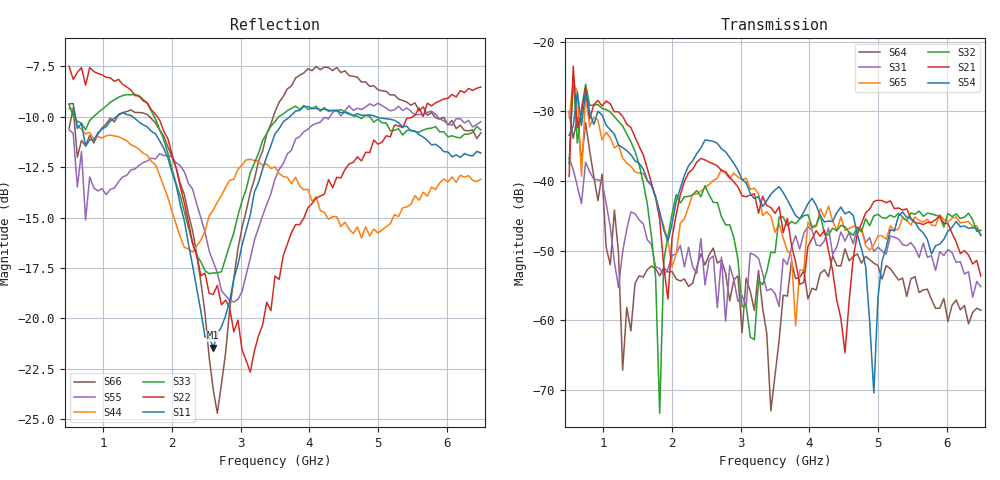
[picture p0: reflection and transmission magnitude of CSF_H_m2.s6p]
!Keysight Technologies,M9804A,MY58100912,A.14.10.03
!Date: Thursday, April 27, 2023 10:28:33
!Correction: S11(C  6-Port  )
!S12(C  6-Port  )
!S13(C  6-Port  )
!S14(C  6-Port  )
!S15(C  6-Port  )
!S16(C  6-Port  )
!S21(C  6-Port  )
!S22(C  6-Port  )
!S23(C  6-Port  )
!S24(C  6-Port  )
!S25(C  6-Port  )
!S26(C  6-Port  )
!S31(C  6-Port  )
!S32(C  6-Port  )
!S33(C  6-Port  )
!S34(C  6-Port  )
!S35(C  6-Port  )
!S36(C  6-Port  )
!S41(C  6-Port  )
!S42(C  6-Port  )
!S43(C  6-Port  )
!S44(C  6-Port  )
!S45(C  6-Port  )
!S46(C  6-Port  )
!S51(C  6-Port  )
!S52(C  6-Port  )
!S53(C  6-Port  )
!S54(C  6-Port  )
!S55(C  6-Port  )
!S56(C  6-Port  )
!S61(C  6-Port  )
!S62(C  6-Port  )
!S63(C  6-Port  )
!S64(C  6-Port  )
!S65(C  6-Port  )
!S66(C  6-Port  )
!S6P File: Measurement: :
# Hz S  RI  R 50
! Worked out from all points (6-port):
!   101 points, 500 MHz to 6.5 GHz, reference 50 ohm
!   strongest paths, dB at 500 MHz, 2 GHz, 3.5 GHz, 5 GHz, 6.5 GHz:
!     S54: -33.5, -46.2, -41.3, -56.8, -47.8
!     S21: -39.3, -48.2, -44.7, -42.8, -53.7
!     S32: -37.6, -44.8, -50.3, -44.8, -47.1
!     S65: -30.9, -52.4, -47.4, -47.9, -47.8
!     S31: -36.7, -50.7, -56.2, -49.5, -55.2
!     S64: -30.1, -53.0, -67.9, -52.2, -58.6
!   lowest |S11| = -21.5 dB at 2.6 GHz (marker M1), VSWR 1.18, Z = 42.5 + j2.2 ohm
!   |S11| at or under -10 dB: 592 MHz to 1.188 GHz (595.6 MHz wide, 66.9 % of centre); 1.427 GHz to 3.713 GHz (2.285 GHz wide, 88.9 % of centre); 4.978 GHz to end of sweep
